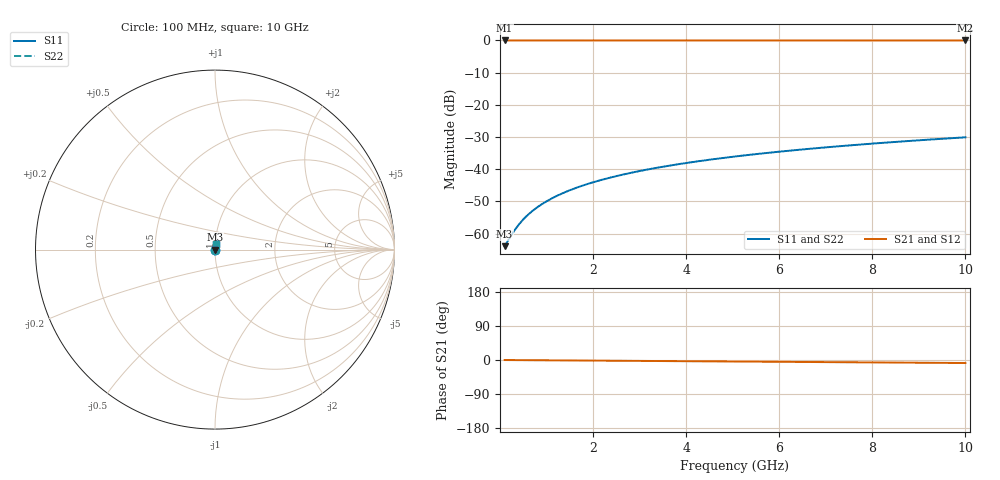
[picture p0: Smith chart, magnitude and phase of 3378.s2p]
# Hz S RI R 50.00
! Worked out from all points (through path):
!   100 points, 100 MHz to 10 GHz, reference 50 ohm
!   highest |S21| = 0.00 dB at 100 MHz (marker M1); lowest = 0.0 dB at 10 GHz (marker M2)
!   group delay of S21, straight-line fit = 2.21 ps
!   lowest |S11| = -63.9 dB at 100 MHz (marker M3), VSWR 1.00, Z = 50.1 + j0.0311 ohm
!   |S11| at or under -10 dB: start of sweep to end of sweep
!   |S22| runs from -63.9 to -30.1 dB; largest |S21 - S12| = 0
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1e8  0.000556 0.000311  0.9994 -0.00138  0.9994 -0.00138  0.000556 0.000311
3e8  0.000565 0.000932  0.9994 -0.00414  0.9994 -0.00414  0.000565 0.000932
4e8  0.00057 0.00124  0.9994 -0.00552  0.9994 -0.00552  0.00057 0.00124
5e8  0.000575 0.00155  0.9994 -0.0069  0.9994 -0.0069  0.000575 0.00155
6e8  0.000581 0.00186  0.9994 -0.00828  0.9994 -0.00828  0.000581 0.00186
7e8  0.000588 0.00218  0.9994 -0.00966  0.9994 -0.00966  0.000588 0.00218
8e8  0.000595 0.00249  0.9994 -0.011  0.9994 -0.011  0.000595 0.00249
9e8  0.000603 0.0028  0.9993 -0.0124  0.9993 -0.0124  0.000603 0.0028
1e9  0.000612 0.00311  0.9993 -0.0138  0.9993 -0.0138  0.000612 0.00311
1.2e9  0.000632 0.00373  0.9993 -0.0166  0.9993 -0.0166  0.000632 0.00373
1.5e9  0.000669 0.00466  0.9992 -0.0207  0.9992 -0.0207  0.000669 0.00466
1.8e9  0.000713 0.00559  0.9991 -0.0248  0.9991 -0.0248  0.000713 0.00559
2.1e9  0.000764 0.00652  0.999 -0.029  0.999 -0.029  0.000764 0.00652
2.5e9  0.000844 0.00776  0.9988 -0.0345  0.9988 -0.0345  0.000844 0.00776
2.9e9  0.000938 0.009  0.9985 -0.04  0.9985 -0.04  0.000938 0.009
3.4e9  0.00107 0.0105  0.9982 -0.047  0.9982 -0.047  0.00107 0.0105
4.2e9  0.00134 0.013  0.9976 -0.058  0.9976 -0.058  0.00134 0.013
5.1e9  0.0017 0.0158  0.9968 -0.0705  0.9968 -0.0705  0.0017 0.0158
5.9e9  0.00208 0.0183  0.9959 -0.0816  0.9959 -0.0816  0.00208 0.0183
6.7e9  0.00252 0.0207  0.9948 -0.0927  0.9948 -0.0927  0.00252 0.0207
8.4e9  0.00363 0.026  0.9922 -0.1163  0.9922 -0.1163  0.00363 0.026
1e10  0.00491 0.0309  0.9892 -0.1385  0.9892 -0.1385  0.00491 0.0309
